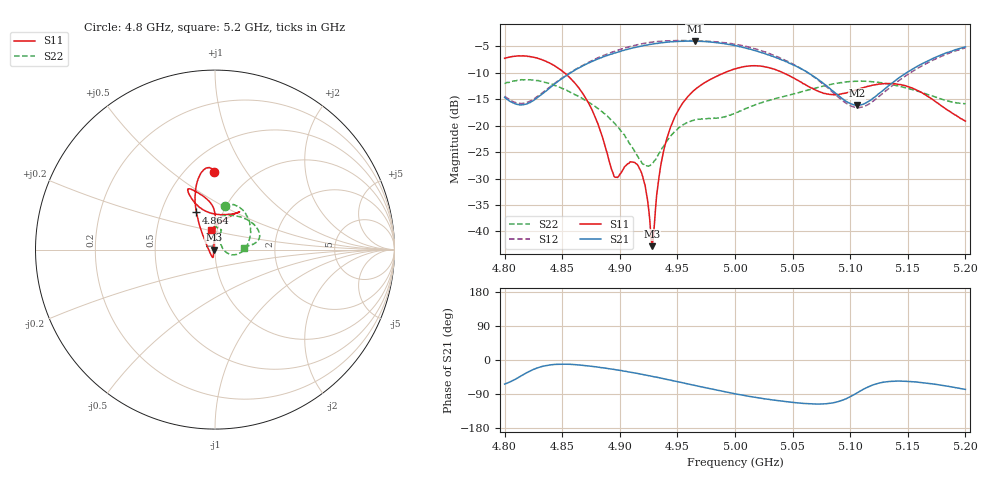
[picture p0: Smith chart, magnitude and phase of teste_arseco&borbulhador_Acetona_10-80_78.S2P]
! Network Analyzer HP8722D
! Hewlett-Packard
! Data name: Linha & Wilkinson
! Saver's name: Rodrigo Anjos
! Comments: Teste da utilização de aquisição
! continua pelo VNA HP8722D
! Time and date: 25/4/2025 15:55
!  Frequency  S11  S21  S12  S22
# HZ  S  MA R 50
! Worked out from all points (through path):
!   401 points, 4.8 GHz to 5.2 GHz, reference 50 ohm
!   highest |S21| = -3.97 dB at 4.965 GHz (marker M1); lowest = -16.1 dB at 5.106 GHz (marker M2)
!   lowest |S11| = -42.8 dB at 4.928 GHz (marker M3), VSWR 1.01, Z = 49.3 - j0.102 ohm
!   |S11| at or under -10 dB: 4.852 GHz to 4.991 GHz (138.7 MHz wide, 2.82 % of centre); 5.042 GHz to end of sweep
!   |S22| runs from -27.7 to -11.3 dB; largest |S21 - S12| = 1.2
!   S11 on the Smith chart (normalised r, x): 4.8 GHz: 0.68, +0.73; 4.864 GHz: 0.75, +0.33; 5.2 GHz: 0.94, +0.21
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4.8e9  0.4344 90.6  0.1854 -63.5  0.1906 69.8  0.2502 77.3
4.82e9  0.4527 96.9  0.1619 -32.2  0.1674 98.5  0.273 61.8
4.864e9  0.2312 116.6  0.3507 -12.9  0.3534 120.9  0.19 11.9
4.867e9  0.2079 118.4  0.3643 -13.9  0.3687 120.6  0.1828 8.4
4.88e9  0.1112 128.9  0.423 -18.4  0.4344 118.2  0.1478 -5.3
4.895e9  0.03314 -173.0  0.4874 -24.9  0.5026 113.7  0.1068 -15.5
4.909e9  0.04552 -108.1  0.5372 -32.1  0.563 107.5  0.06674 -14.3
4.917e9  0.03946 -104.1  0.5635 -36.4  0.59 103.5  0.04815 -0.9
4.922e9  0.02716 -107.8  0.5772 -39.3  0.6037 100.7  0.0415 16.0
4.928e9  0.007255 -171.8  0.5911 -42.9  0.6189 96.9  0.04336 41.2
4.93e9  0.01157 123.9  0.5969 -44.4  0.6205 95.7  0.04654 47.7
4.934e9  0.0325 100.4  0.6057 -46.8  0.6292 93.3  0.05468 58.5
4.939e9  0.064 93.4  0.6148 -50.0  0.6356 90.0  0.06707 65.7
4.946e9  0.1096 89.9  0.6242 -54.6  0.6378 85.5  0.0841 70.2
4.965e9  0.2182 91.0  0.6329 -67.3  0.6367 73.4  0.1134 71.8
5e9  0.3453 109.0  0.5726 -89.1  0.5916 50.7  0.1314 88.4
5.03e9  0.3531 115.0  0.4645 -104.1  0.4806 33.8  0.1739 85.3
5.067e9  0.2264 105.1  0.2997 -115.8  0.2976 23.6  0.2222 57.2
5.106e9  0.2194 64.5  0.1564 -86.7  0.1481 56.2  0.2634 24.8
5.134e9  0.251 57.0  0.2422 -56.7  0.2274 88.7  0.2477 12.3
5.169e9  0.1851 69.8  0.4191 -62.2  0.4035 84.8  0.1942 6.8
5.2e9  0.1106 100.4  0.5566 -77.5  0.546 70.1  0.1611 3.8
